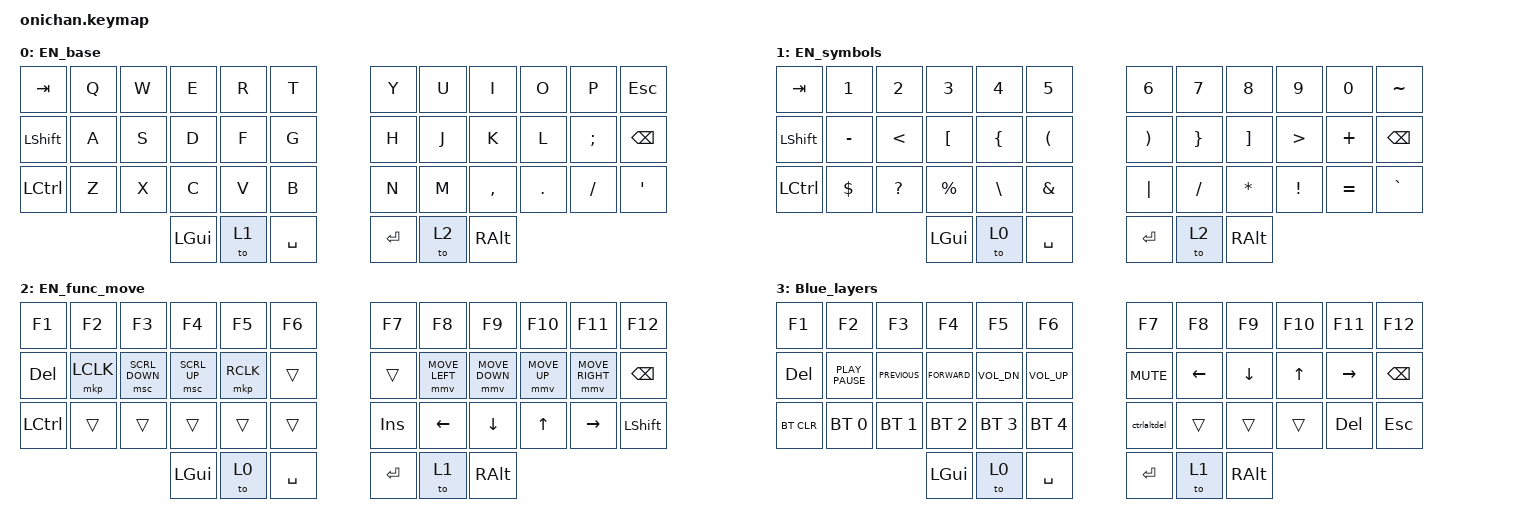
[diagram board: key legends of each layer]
/*
 * Copyright (c) 2020 The ZMK Contributors
 *
 * SPDX-License-Identifier: MIT
 */
//mouse emulation

#include <behaviors.dtsi>
#include <dt-bindings/zmk/bt.h>
#include <dt-bindings/zmk/keys.h>
#include <dt-bindings/zmk/pointing.h>

#define ZMK_POINTING_DEFAULT_MOVE_VAL 800  // default: 600
#define ZMK_POINTING_DEFAULT_SCRL_VAL 20    // default: 10

//Layers Aliases

#define EN_base 0
#define EN_symbols 1
#define EN_func_move 2
#define PT_base 3
#define PT_symbols 4
#define PT_func_move 5
#define Blue_layers 6

// Aliases

#define PT_BSLS GRAVE  // (backslash)
#define PT_1    NUMBER_1    // 1
#define PT_2    NUMBER_2    // 2
#define PT_3    NUMBER_3    // 3
#define PT_4    NUMBER_4    // 4
#define PT_5    NUMBER_5    // 5
#define PT_6    NUMBER_6    // 6
#define PT_7    NUMBER_7    // 7
#define PT_8    NUMBER_8    // 8
#define PT_9    NUMBER_9    // 9
#define PT_0    NUMBER_0    // 0
#define PT_SINGLE_QUOTE MINUS // '
#define PT_LDAQ EQUAL  // «
#define PT_Q    Q    // Q
#define PT_W    W    // W
#define PT_E    E    // E
#define PT_R    R    // R
#define PT_T    T    // T
#define PT_Y    Y    // Y
#define PT_U    U    // U
#define PT_I    I    // I
#define PT_O    O    // O
#define PT_P    P    // P
#define PT_PLUS LEFT_BRACKET // +
#define PT_ACUT RIGHT_BRACKET // ´ (dead)
#define PT_A    A    // A
#define PT_S    S    // S
#define PT_D    D    // D
#define PT_F    F    // F
#define PT_G    G    // G
#define PT_H    H    // H
#define PT_J    J    // J
#define PT_K    K    // K
#define PT_L    L    // L
#define PT_CED SEMICOLON // Ç
#define PT_MORD SINGLE_QUOTE // º
#define PT_TILDE NUHS // ~ (dead)
#define PT_LESS_THAN NUBS // <
#define PT_Z    Z    // Z
#define PT_X    X    // X
#define PT_C    C    // C
#define PT_V    V    // V
#define PT_B    B    // B
#define PT_N    N    // N
#define PT_M    M    // M
#define PT_COMMA COMMA // ,
#define PT_DOT  PERIOD  // .
#define PT_MINUS SLASH // -
#define PT_PIPE LS(GRAVE) // |
#define PT_EXLM LS(NUMBER_1)    // !
#define PT_DQUO LS(NUMBER_2)    // "
#define PT_HASH LS(NUMBER_3)    // #
#define PT_DLR  LS(NUMBER_4)    // $
#define PT_PERC LS(NUMBER_5)    // %
#define PT_AMPR LS(NUMBER_6)    // &
#define PT_SLSH LS(NUMBER_7)    // /
#define PT_LPRN LS(NUMBER_8)    // (
#define PT_RPRN LS(NUMBER_9)    // )
#define PT_EQL  LS(NUMBER_0)    // =
#define PT_QUES LS(MINUS) // ?
#define PT_RDAQ LS(EQUAL) // »
#define PT_ASTR LS(LEFT_BRACKET) // *
#define PT_GRV  LS(RIGHT_BRACKET) // ` (dead)
#define PT_FORD LS(SINGLE_QUOTE) // ª
#define PT_CIRC LS(NUHS) // ^ (dead)
#define PT_GREATER_THAN LS(NUBS) // >
#define PT_SCLN LS(COMMA) // ;
#define PT_COLN LS(PERIOD)  // :
#define PT_UNDS LS(SLASH) // _
#define PT_AT   RA(NUMBER_2)    // @
#define PT_PND  RA(NUMBER_3)    // £
#define PT_SECT RA(NUMBER_4)    // §
#define PT_LCBR RA(NUMBER_7)    // {
#define PT_LBRC RA(NUMBER_8)    // [
#define PT_RBRC RA(NUMBER_9)    // ]
#define PT_RCBR RA(NUMBER_0)    // }
#define PT_DIAE RA(LEFT_BRACKET) // ¨ (dead)
#define PT_EURO RA(PT_E)    // €

/ {
    combos {
        compatible = "zmk,combos";

        settinglayer {
            bindings = <&to 3>;
            key-positions = <37 40>;
        };
    };

    macros {
        ctrlaltdel: ctrlaltdel {
            compatible = "zmk,behavior-macro";
            #binding-cells = <0>;
            bindings = <&kp LC(LA(DEL))>;
            label = "CTRLALTDEL";
        };
    };

    keymap {
        compatible = "zmk,keymap";

        en_base {
            display-name = "EN_base";
            bindings = <
&kp TAB         &kp Q  &kp W  &kp E         &kp R  &kp T        &kp Y      &kp U  &kp I          &kp O       &kp P      &kp ESC
&kp LEFT_SHIFT  &kp A  &kp S  &kp D         &kp F  &kp G        &kp H      &kp J  &kp K          &kp L       &kp SEMI   &kp BACKSPACE
&kp LCTRL       &kp Z  &kp X  &kp C         &kp V  &kp B        &kp N      &kp M  &kp COMMA      &kp PERIOD  &kp SLASH  &kp SINGLE_QUOTE
                              &kp LEFT_GUI  &to 1  &kp SPACE    &kp ENTER  &to 2  &kp RIGHT_ALT
            >;
        };

        en_symbol {
            display-name = "EN_symbols";
            bindings = <
&kp TAB     &kp NUMBER_1  &kp NUMBER_2   &kp NUMBER_3      &kp NUMBER_4    &kp NUMBER_5            &kp NUMBER_6           &kp NUMBER_7     &kp NUMBER_8       &kp NUMBER_9      &kp NUMBER_0  &kp TILDE
&kp LSHIFT  &kp MINUS     &kp LESS_THAN  &kp LEFT_BRACKET  &kp LEFT_BRACE  &kp LEFT_PARENTHESIS    &kp RIGHT_PARENTHESIS  &kp RIGHT_BRACE  &kp RIGHT_BRACKET  &kp GREATER_THAN  &kp PLUS      &kp BACKSPACE
&kp LCTRL   &kp DOLLAR    &kp QUESTION   &kp PERCENT       &kp BACKSLASH   &kp AMPERSAND           &kp PIPE               &kp SLASH        &kp ASTERISK       &kp EXCLAMATION   &kp EQUAL     &kp GRAVE
                                         &kp LGUI          &to 0           &kp SPACE               &kp ENTER              &to 2            &kp RIGHT_ALT
            >;
        };

        en_nav {
            display-name = "EN_func_move";
            bindings = <
&kp F1      &kp F2     &kp F3          &kp F4        &kp F5     &kp F6       &kp F7      &kp F8          &kp F9          &kp F10       &kp F11          &kp F12
&kp DELETE  &mkp LCLK  &msc SCRL_DOWN  &msc SCRL_UP  &mkp RCLK  &trans       &trans      &mmv MOVE_LEFT  &mmv MOVE_DOWN  &mmv MOVE_UP  &mmv MOVE_RIGHT  &kp BACKSPACE
&kp LCTRL   &trans     &trans          &trans        &trans     &trans       &kp INSERT  &kp LEFT_ARROW  &kp DOWN_ARROW  &kp UP_ARROW  &kp RIGHT_ARROW  &kp LSHFT
                                       &kp LGUI      &to 0      &kp SPACE    &kp ENTER   &to 1           &kp RIGHT_ALT
            >;
        };

        Blue_Func {
            display-name = "Blue_layers";
            bindings = <
&kp F1      &kp F2            &kp F3          &kp F4         &kp F5        &kp F6          &kp F7       &kp F8          &kp F9          &kp F10       &kp F11          &kp F12
&kp DELETE  &kp K_PLAY_PAUSE  &kp K_PREVIOUS  &kp K_FORWARD  &kp C_VOL_DN  &kp C_VOL_UP    &kp K_MUTE   &kp LEFT_ARROW  &kp DOWN_ARROW  &kp UP_ARROW  &kp RIGHT_ARROW  &kp BACKSPACE
&bt BT_CLR  &bt BT_SEL 0      &bt BT_SEL 1    &bt BT_SEL 2   &bt BT_SEL 3  &bt BT_SEL 4    &ctrlaltdel  &trans          &trans          &trans        &kp DEL          &kp ESC
                                              &kp LGUI       &to 0         &kp SPACE       &kp ENTER    &to 1           &kp RIGHT_ALT
            >;
        };
    };
};
